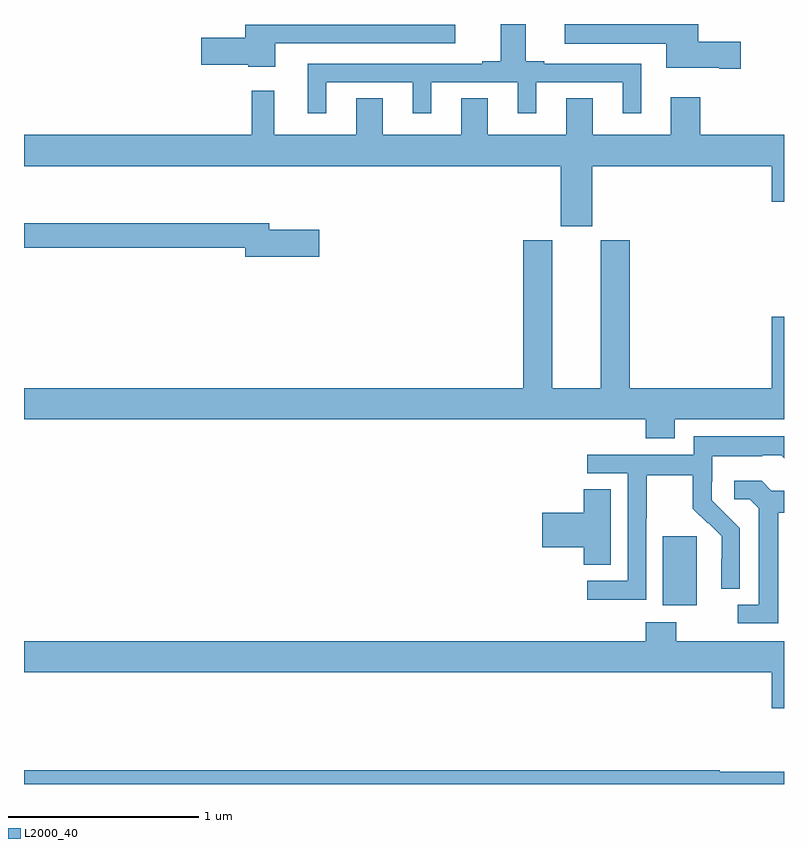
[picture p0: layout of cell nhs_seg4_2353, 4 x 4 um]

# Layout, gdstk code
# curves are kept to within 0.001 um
import gdstk
lib = gdstk.Library(unit=1e-6, precision=1e-09)
def R(c, l, rs):  # rectangles x0, y0, x1, y1
    for r in rs: c.add(gdstk.rectangle(r[:2], r[2:], *l))
def P(c, l, *ps):  # polygons
    for p in ps: c.add(gdstk.Polygon(p, *l))
L2000_40 = (2000, 40)

nhs_seg4_2353 = lib.new_cell('nhs_seg4_2353')
R(nhs_seg4_2353, L2000_40, [(236.363,795.842,236.542,796.203)])
P(nhs_seg4_2353, L2000_40, [(234.592,798.594),(235.046,798.594),(235.046,798.429),(235.144,798.429),(235.144,798.594),(235.598,798.594),(235.598,798.429),(235.696,798.429),(235.696,798.594),(236.15,798.594),(236.15,798.429),(236.248,798.429),(236.248,798.69),(235.738,798.69),(235.738,798.703),(235.642,798.703),(235.642,798.9),(235.508,798.9),(235.508,798.703),(235.412,798.703),(235.412,798.69),(234.494,798.69),(234.494,798.429),(234.592,798.429)],
  [(236.773,798.806),(236.548,798.806),(236.548,798.9),(235.845,798.9),(235.845,798.797),(236.381,798.797),(236.381,798.671),(236.66,798.671),(236.66,798.664),(236.773,798.664)],
  [(234.322,798.798),(235.27,798.798),(235.27,798.895),(234.164,798.895),(234.164,798.827),(233.934,798.827),(233.934,798.685),(234.18,798.685),(234.18,798.674),(234.322,798.674)],
  [(236.405,798.514),(236.405,798.316),(235.993,798.316),(235.993,798.509),(235.853,798.509),(235.853,798.316),(235.441,798.316),(235.441,798.509),(235.301,798.509),(235.301,798.316),(234.889,798.316),(234.889,798.509),(234.749,798.509),(234.749,798.316),(234.317,798.316),(234.317,798.55),(234.199,798.55),(234.199,798.316),(233,798.316),(233,798.152),(235.826,798.152),(235.826,797.835),(235.99,797.835),(235.99,798.152),(236.936,798.152),(236.936,797.964),(237,797.964),(237,798.316),(236.558,798.316),(236.558,798.514)],
  [(234.553,797.817),(234.292,797.817),(234.292,797.851),(233,797.851),(233,797.722),(234.164,797.722),(234.164,797.675),(234.553,797.675)],
  [(236.425,796.82),(237,796.82),(237,797.359),(236.936,797.359),(236.936,796.984),(236.189,796.984),(236.189,797.763),(236.036,797.763),(236.036,796.984),(235.78,796.984),(235.78,797.763),(235.628,797.763),(235.628,796.984),(233,796.984),(233,796.82),(236.273,796.82),(236.273,796.721),(236.425,796.721)],
  [(236.274,796.3),(236.277,796.3),(236.277,796.524),(236.521,796.524),(236.521,796.349),(236.598,796.272),(236.601,796.275),(236.672,796.205),(236.672,796.082),(236.67,796.082),(236.67,795.928),(236.766,795.928),(236.766,796.246),(236.62,796.394),(236.62,796.491),(236.622,796.491),(236.622,796.625),(236.885,796.625),(236.885,796.629),(236.985,796.629),(237,796.614),(237,796.729),(236.526,796.729),(236.526,796.632),(235.965,796.632),(235.965,796.536),(236.178,796.536),(236.178,795.969),(235.965,795.969),(235.965,795.871),(236.274,795.871)],
  [(236.971,796.328),(237,796.328),(237,796.443),(236.934,796.443),(236.882,796.495),(236.739,796.495),(236.739,796.398),(236.82,796.398),(236.867,796.351),(236.867,795.843),(236.757,795.843),(236.757,795.747),(236.971,795.747)],
  [(236.089,796.451),(235.946,796.451),(235.946,796.328),(235.728,796.328),(235.728,796.145),(235.946,796.145),(235.946,796.054),(236.089,796.054)],
  [(237,795.652),(236.433,795.652),(236.433,795.751),(236.273,795.751),(236.273,795.652),(233,795.652),(233,795.488),(236.936,795.488),(236.936,795.3),(237,795.3)],
  [(237,794.965),(236.662,794.965),(236.662,794.972),(233,794.972),(233,794.9),(237,794.9)])

lib.write_gds('nhs_seg4_2353.gds')
